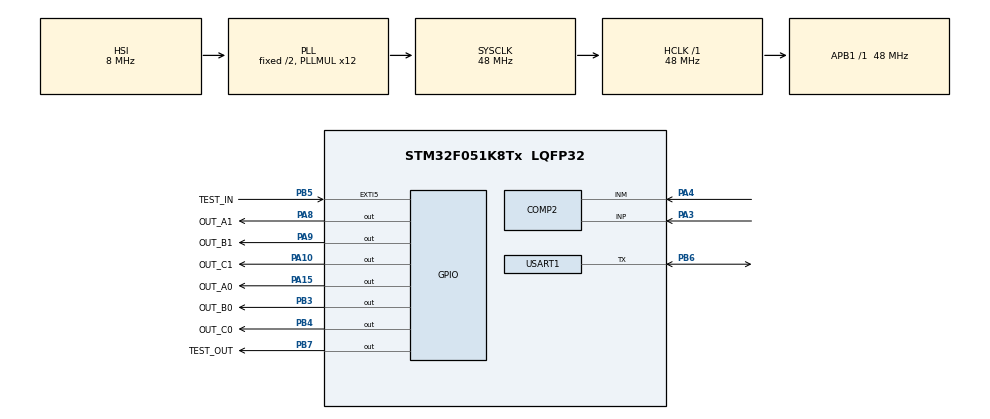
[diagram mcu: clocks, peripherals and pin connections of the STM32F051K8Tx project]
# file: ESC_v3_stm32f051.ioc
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COMP2.Hysteresis=COMP_HYSTERESIS_HIGH
COMP2.Mode=COMP_MODE_HIGHSPEED
COMP2.TriggerMode=COMP_TRIGGERMODE_IT_FALLING
Dma.Request0=USART1_TX
Dma.USART1_TX.0.Direction=DMA_MEMORY_TO_PERIPH
Dma.USART1_TX.0.Instance=DMA1_Channel2
Dma.USART1_TX.0.MemDataAlignment=DMA_MDATAALIGN_BYTE
Dma.USART1_TX.0.MemInc=DMA_MINC_ENABLE
Dma.USART1_TX.0.Mode=DMA_NORMAL
Dma.USART1_TX.0.PeriphDataAlignment=DMA_PDATAALIGN_BYTE
Dma.USART1_TX.0.PeriphInc=DMA_PINC_DISABLE
Dma.USART1_TX.0.Priority=DMA_PRIORITY_LOW
Mcu.Family=STM32F0
Mcu.Name=STM32F051K8Tx
Mcu.Package=LQFP32
NVIC.ADC1_COMP_IRQn=true\:0\:0\:false\:false\:true\:false
NVIC.DMA1_Channel2_3_IRQn=true\:0\:0\:false\:false\:true\:false
NVIC.EXTI4_15_IRQn=true\:0\:0\:false\:false\:true\:true
NVIC.TIM1_BRK_UP_TRG_COM_IRQn=true\:0\:0\:false\:false\:true\:true
NVIC.TIM1_CC_IRQn=true\:0\:0\:false\:false\:true\:true
NVIC.TIM3_IRQn=true\:0\:0\:false\:false\:true\:true
NVIC.USART1_IRQn=true\:0\:0\:false\:false\:true\:true
PA10.GPIO_Label=OUT_C1
PA10.GPIO_Speed=GPIO_SPEED_FREQ_HIGH
PA10.Signal=GPIO_Output
PA13.Mode=Serial_Wire
PA13.Signal=SYS_SWDIO
PA14.Mode=Serial_Wire
PA14.Signal=SYS_SWCLK
PA15.GPIO_Label=OUT_A0
PA15.GPIO_Speed=GPIO_SPEED_FREQ_HIGH
PA15.Signal=GPIO_Output
PA3.Mode=INP
PA3.Signal=COMP2_INP
PA4.Mode=INM
PA4.Signal=COMP2_INM
PA8.GPIO_Label=OUT_A1
PA8.GPIO_Speed=GPIO_SPEED_FREQ_HIGH
PA8.Signal=GPIO_Output
PA9.GPIO_Label=OUT_B1
PA9.GPIO_Speed=GPIO_SPEED_FREQ_HIGH
PA9.Signal=GPIO_Output
PB3.GPIO_Label=OUT_B0
PB3.GPIO_Speed=GPIO_SPEED_FREQ_HIGH
PB3.Signal=GPIO_Output
PB4.GPIO_Label=OUT_C0
PB4.GPIO_Speed=GPIO_SPEED_FREQ_HIGH
PB4.Signal=GPIO_Output
PB5.GPIO_Label=TEST_IN
PB5.GPIO_ModeDefaultEXTI=GPIO_MODE_IT_RISING_FALLING
PB5.GPIO_PuPd=GPIO_PULLUP
PB5.Signal=GPXTI5
PB6.Mode=Half_duplex(single_wire_mode)
PB6.Signal=USART1_TX
PB7.GPIO_FM7=SYSCFG_CFGR1_I2C_FMP_PB7
PB7.GPIO_Label=TEST_OUT
PB7.GPIO_Speed=GPIO_SPEED_FREQ_HIGH
PB7.Signal=GPIO_Output
ProjectManager.HeapSize=0x200
ProjectManager.StackSize=0x400
ProjectManager.TargetToolchain=SW4STM32
RCC.AHBFreq_Value=48000000
RCC.APB1Freq_Value=48000000
RCC.APB1TimFreq_Value=48000000
RCC.HCLKFreq_Value=48000000
RCC.PLLMUL=RCC_PLL_MUL12
RCC.SYSCLKFreq_VALUE=48000000
RCC.SYSCLKSource=RCC_SYSCLKSOURCE_PLLCLK
TIM1.AutoReloadPreload=TIM_AUTORELOAD_PRELOAD_ENABLE
TIM1.Period=0xFFFF
TIM1.Prescaler=48
TIM2.AutoReloadPreload=TIM_AUTORELOAD_PRELOAD_ENABLE
TIM2.Period=0xffff
TIM2.Prescaler=48
TIM3.AutoReloadPreload=TIM_AUTORELOAD_PRELOAD_ENABLE
TIM3.Period=0xFFFF
TIM3.Prescaler=48
TIM6.AutoReloadPreload=TIM_AUTORELOAD_PRELOAD_ENABLE
TIM6.Period=0xFFFF
TIM6.Prescaler=48
USART1.BaudRate=115200
USART1.VirtualMode-Half_duplex(single_wire_mode)=VM_ASYNC
VP_TIM1_VS_ClockSourceINT.Mode=Internal
VP_TIM2_VS_ClockSourceINT.Mode=Internal
VP_TIM3_VS_ClockSourceINT.Mode=Internal
VP_TIM6_VS_ClockSourceINT.Mode=Enable_Timer
board=ESC_v3_stm32f051

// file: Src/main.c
/**
  ******************************************************************************
  * File Name          : main.c
  * Description        : Main program body
  ******************************************************************************
  ** This notice applies to any and all portions of this file
  * that are not between comment pairs USER CODE BEGIN and
  * USER CODE END. Other portions of this file, whether
  * inserted by the user or by software development tools
  * are owned by their respective copyright owners.
  *
  * COPYRIGHT(c) 2018 STMicroelectronics
  *
  * Redistribution and use in source and binary forms, with or without modification,
  * are permitted provided that the following conditions are met:
  *   1. Redistributions of source code must retain the above copyright notice,
  *      this list of conditions and the following disclaimer.
  *   2. Redistributions in binary form must reproduce the above copyright notice,
  *      this list of conditions and the following disclaimer in the documentation
  *      and/or other materials provided with the distribution.
  *   3. Neither the name of STMicroelectronics nor the names of its contributors
  *      may be used to endorse or promote products derived from this software
  *      without specific prior written permission.
  *
  * THIS SOFTWARE IS PROVIDED BY THE COPYRIGHT HOLDERS AND CONTRIBUTORS "AS IS"
  * AND ANY EXPRESS OR IMPLIED WARRANTIES, INCLUDING, BUT NOT LIMITED TO, THE
  * IMPLIED WARRANTIES OF MERCHANTABILITY AND FITNESS FOR A PARTICULAR PURPOSE ARE
  * DISCLAIMED. IN NO EVENT SHALL THE COPYRIGHT HOLDER OR CONTRIBUTORS BE LIABLE
  * FOR ANY DIRECT, INDIRECT, INCIDENTAL, SPECIAL, EXEMPLARY, OR CONSEQUENTIAL
  * DAMAGES (INCLUDING, BUT NOT LIMITED TO, PROCUREMENT OF SUBSTITUTE GOODS OR
  * SERVICES; LOSS OF USE, DATA, OR PROFITS; OR BUSINESS INTERRUPTION) HOWEVER
  * CAUSED AND ON ANY THEORY OF LIABILITY, WHETHER IN CONTRACT, STRICT LIABILITY,
  * OR TORT (INCLUDING NEGLIGENCE OR OTHERWISE) ARISING IN ANY WAY OUT OF THE USE
  * OF THIS SOFTWARE, EVEN IF ADVISED OF THE POSSIBILITY OF SUCH DAMAGE.
  *
  ******************************************************************************
  */
#include "main.h"
#include "stm32f0xx_hal.h"

COMP_HandleTypeDef hcomp2;

TIM_HandleTypeDef htim1;
TIM_HandleTypeDef htim2;
TIM_HandleTypeDef htim3;
TIM_HandleTypeDef htim6;

UART_HandleTypeDef huart1;
DMA_HandleTypeDef hdma_usart1_tx;

/* USER CODE BEGIN PV */
/* Private variables ---------------------------------------------------------*/

/* USER CODE END PV */

void SystemClock_Config(void);
static void MX_GPIO_Init(void);
static void MX_DMA_Init(void);
static void MX_COMP2_Init(void);
static void MX_USART1_UART_Init(void);
static void MX_TIM1_Init(void);
static void MX_TIM3_Init(void);
static void MX_TIM2_Init(void);
static void MX_TIM6_Init(void);

/* USER CODE BEGIN PFP */
/* Private function prototypes -----------------------------------------------*/

void SwitchStep(void);

/* USER CODE END PFP */

/* USER CODE BEGIN 0 */

volatile int startup_time = 0;

#include <stdarg.h>	// for va_start(lst, fmt), va_end(lst);...
#include <string.h> //for strlen()

static char buf[256];
void Printf(const char *fmt, ...)
{
//	static char buf[256];
	char *p;
	va_list lst;

	va_start(lst, fmt);
	vsprintf(buf, fmt, lst);
	va_end(lst);

	p = buf;
	HAL_UART_Transmit_DMA(&huart1, (unsigned char *)buf, strlen(buf));
	return;
	while(*p) {
		HAL_UART_Transmit(&huart1, (unsigned char *)p, 1, 500);
		p++;
	}
}

int ChangeTime = 0;
int TimeRotate = 0;

int incorrectfl = 0;
int correctfl = 0;

#define CounterTIM3Read htim3.Instance->CNT				// For Input pin. for count impulse lenght.
#define CounterTIM2Read htim2.Instance->CNT				// Counter zc_polarity and time for STEPs
#define CounterTIM1Read htim1.Instance->CNT				// Counter us After Impulses
#define CounterTIM6Read htim6.Instance->CNT				// Timer Clocker impulse N-Mosfet (Low-Mosfet)

#define COMMUTATION_TIMING_IIR_COEFF_A      1
#define COMMUTATION_TIMING_IIR_COEFF_B      20//50

#define STURTUP_TIME 3000//5000//2600

#define COMP_CHN_A             1
#define COMP_CHN_B             2
#define COMP_CHN_C             3

unsigned char COMP_CHN_Table[6];

volatile int   TIME_IMPULS = 0;		//10
#define  TIME_PERIOD  120	//60

struct driveTableStructure{
	GPIO_TypeDef* GPIO_Port;
	uint16_t GPIO_Pin;
};

struct driveTableStructure driveTableHight[6], driveTableLow[6];

volatile unsigned int filteredTimeSinceCommutation;
volatile unsigned char nextCommutationStep;
volatile unsigned char zcPolarity;

int timeSinceCommutation_Updated = 0;
int timeSinceCommutation_Value;

volatile int Impulse_Ready = 0;
volatile int Impulse_Length = 0;

#define IMP_AVERAGE 10
int Impulse_average[IMP_AVERAGE] = {0,};
int Impulse_Average_arr=0;
int Impulse_Average=0;

void HAL_GPIO_EXTI_Callback(uint16_t GPIO_Pin)
{
	if (HAL_GPIO_ReadPin(TEST_IN_GPIO_Port, TEST_IN_Pin) == GPIO_PIN_RESET){
		int timer3 = CounterTIM3Read;
		if (timer3 < 1200) Impulse_Length=0;
		else Impulse_Length = (timer3-1000)/8;

		Impulse_average[Impulse_Average_arr]=Impulse_Length;

		if (++Impulse_Average_arr>=IMP_AVERAGE)Impulse_Average_arr=0;

		int i=0;
		for (i=0; i<IMP_AVERAGE; i++){Impulse_Average +=Impulse_average[i];}
		Impulse_Average/=IMP_AVERAGE;

		if (Impulse_Length == 0)TIME_IMPULS=0;
		else TIME_IMPULS = Impulse_Average;

		Impulse_Ready = 1;
	}

	CounterTIM3Read = 0;
}

void HAL_TIM_PeriodElapsedCallback(TIM_HandleTypeDef *htim)
{
}

void HAL_COMP_TriggerCallback(COMP_HandleTypeDef *hcomp)
{
}

void HAL_COMP_MspInit_Add(COMP_HandleTypeDef* hcomp)
{

  GPIO_InitTypeDef GPIO_InitStruct;
  if(hcomp->Instance==COMP2)
  {
  /* USER CODE BEGIN COMP2_MspInit 0 */

  /* USER CODE END COMP2_MspInit 0 */

    /**COMP2 GPIO Configuration
    PA3     ------> COMP2_INP
    PA4     ------> COMP2_INM
    */
    GPIO_InitStruct.Pin = GPIO_PIN_2|GPIO_PIN_3|GPIO_PIN_4|GPIO_PIN_5;;
    GPIO_InitStruct.Mode = GPIO_MODE_ANALOG;
    GPIO_InitStruct.Pull = GPIO_NOPULL;
    HAL_GPIO_Init(GPIOA, &GPIO_InitStruct);

    /* COMP2 interrupt Init */
    HAL_NVIC_SetPriority(ADC1_COMP_IRQn, 0, 0);
    HAL_NVIC_EnableIRQ(ADC1_COMP_IRQn);
  /* USER CODE BEGIN COMP2_MspInit 1 */

  /* USER CODE END COMP2_MspInit 1 */
  }

}

void MX_COMP2_Init_Channel(int n, int edge)	// edge 1 -> Rise ; 0 -> fall; (for P pin)
{

	//if (edge == 1){
	//	__HAL_COMP_COMP2_EXTI_DISABLE_FALLING_EDGE() ;
	//	__HAL_COMP_COMP2_EXTI_ENABLE_RISING_EDGE();
	//}
	//else {
	//	__HAL_COMP_COMP2_EXTI_ENABLE_FALLING_EDGE() ;
	//	__HAL_COMP_COMP2_EXTI_DISABLE_RISING_EDGE();
	//}

  hcomp2.Instance = COMP2;
  if ((n==0) || (n==1)) hcomp2.Init.InvertingInput = COMP_INVERTINGINPUT_DAC2;
  else if (n==2) 		hcomp2.Init.InvertingInput = COMP_INVERTINGINPUT_DAC1;
  else					hcomp2.Init.InvertingInput = COMP_INVERTINGINPUT_IO1;

#define COMP_CSR_COMPxNONINSEL_MASK      ((uint16_t)COMP_CSR_COMP1SW1)
#define COMP_CSR_COMP2_SHIFT             16U

  uint32_t regshift = COMP_CSR_COMP2_SHIFT;

  MODIFY_REG(COMP->CSR,
             (COMP_CSR_COMPxINSEL  | COMP_CSR_COMPxNONINSEL_MASK | \
              COMP_CSR_COMPxOUTSEL | COMP_CSR_COMPxPOL           | \
              COMP_CSR_COMPxHYST   | COMP_CSR_COMPxMODE) << regshift,
             (hcomp2.Init.InvertingInput    | \
            		 COMP_NONINVERTINGINPUT_IO1 | \
					 COMP_OUTPUT_NONE            | \
					 COMP_OUTPUTPOL_NONINVERTED         | \
					 COMP_HYSTERESIS_HIGH        | \
					 COMP_MODE_HIGHSPEED) << regshift);

}

#define setDriveTable(i,a,b,c,d)   driveTableLow[i].GPIO_Port = a; driveTableLow[i].GPIO_Pin = b; driveTableHight[i].GPIO_Port = c; driveTableHight[i].GPIO_Pin = d

void MakeTables(void)
{
#define INVERSE 0
#if INVERSE
	setDriveTable(5, OUT_A0_GPIO_Port, OUT_A0_Pin, OUT_B1_GPIO_Port, OUT_B1_Pin);
	setDriveTable(4, OUT_A0_GPIO_Port, OUT_A0_Pin, OUT_C1_GPIO_Port, OUT_C1_Pin);
	setDriveTable(3, OUT_B0_GPIO_Port, OUT_B0_Pin, OUT_C1_GPIO_Port, OUT_C1_Pin);
	setDriveTable(2, OUT_B0_GPIO_Port, OUT_B0_Pin, OUT_A1_GPIO_Port, OUT_A1_Pin);
	setDriveTable(1, OUT_C0_GPIO_Port, OUT_C0_Pin, OUT_A1_GPIO_Port, OUT_A1_Pin);
	setDriveTable(0, OUT_C0_GPIO_Port, OUT_C0_Pin, OUT_B1_GPIO_Port, OUT_B1_Pin);

	COMP_CHN_Table[5] = COMP_CHN_C;	//c	rise
	COMP_CHN_Table[4] = COMP_CHN_B;	//b fall
	COMP_CHN_Table[3] = COMP_CHN_A;	//a rise
	COMP_CHN_Table[2] = COMP_CHN_C;	//c fall
	COMP_CHN_Table[1] = COMP_CHN_B;	//b rise
	COMP_CHN_Table[0] = COMP_CHN_A;	//a	fall
#else
	setDriveTable(0, OUT_A0_GPIO_Port, OUT_A0_Pin, OUT_B1_GPIO_Port, OUT_B1_Pin);
	setDriveTable(1, OUT_A0_GPIO_Port, OUT_A0_Pin, OUT_C1_GPIO_Port, OUT_C1_Pin);
	setDriveTable(2, OUT_B0_GPIO_Port, OUT_B0_Pin, OUT_C1_GPIO_Port, OUT_C1_Pin);
	setDriveTable(3, OUT_B0_GPIO_Port, OUT_B0_Pin, OUT_A1_GPIO_Port, OUT_A1_Pin);
	setDriveTable(4, OUT_C0_GPIO_Port, OUT_C0_Pin, OUT_A1_GPIO_Port, OUT_A1_Pin);
	setDriveTable(5, OUT_C0_GPIO_Port, OUT_C0_Pin, OUT_B1_GPIO_Port, OUT_B1_Pin);

	COMP_CHN_Table[0] = COMP_CHN_C;	//c	rise
	COMP_CHN_Table[1] = COMP_CHN_B;	//b fall
	COMP_CHN_Table[2] = COMP_CHN_A;	//a rise
	COMP_CHN_Table[3] = COMP_CHN_C;	//c fall
	COMP_CHN_Table[4] = COMP_CHN_B;	//b rise
	COMP_CHN_Table[5] = COMP_CHN_A;	//a	fall
#endif
}

void SwitchGPIO_OUTPUT(int cStep)
{
	  //HAL_GPIO_WritePin(GPIOA, OUT_A1_Pin|OUT_B1_Pin|OUT_C1_Pin|OUT_A0_Pin, GPIO_PIN_RESET);
	  //HAL_GPIO_WritePin(GPIOB, OUT_B0_Pin|OUT_C0_Pin, GPIO_PIN_RESET);

	GPIOA->BRR = OUT_A1_Pin|OUT_B1_Pin|OUT_C1_Pin|OUT_A0_Pin;
	GPIOB->BRR = OUT_B0_Pin|OUT_C0_Pin;

	driveTableHight[cStep].GPIO_Port->BSRR = driveTableHight[cStep].GPIO_Pin;

	  //HAL_GPIO_WritePin(driveTableHight[cStep].GPIO_Port, driveTableHight[cStep].GPIO_Pin, GPIO_PIN_SET);
	  //HAL_GPIO_WritePin(driveTableLow[cStep].GPIO_Port, driveTableLow[cStep].GPIO_Pin, GPIO_PIN_SET);

}

int signal_on = 0;

void SwitchStep(void)
{
	CounterTIM2Read=0;
	ChangeTime = 0;

    if (signal_on == 1)driveTableLow[nextCommutationStep].GPIO_Port->BRR = driveTableLow[nextCommutationStep].GPIO_Pin;		//Reset Last Communication FET
    if (++nextCommutationStep >= 6) nextCommutationStep = 0;

    //DRIVE_PORT = driveTable[nextCommutationStep];
    SwitchGPIO_OUTPUT(nextCommutationStep);
    if (signal_on == 1)driveTableLow[nextCommutationStep].GPIO_Port->BSRR = driveTableLow[nextCommutationStep].GPIO_Pin;	//Set Communication FET

    zcPolarity = (nextCommutationStep) & 0x01;
    MX_COMP2_Init_Channel(COMP_CHN_Table[nextCommutationStep], zcPolarity);//ADMUX = ADMUXTable[nextCommutationStep];		//SET Compare to communication step

}

int ReaderNextStep(void)
{
	if (CounterTIM2Read<filteredTimeSinceCommutation*2) return 0;

	if(1)if (!ChangeTime){
        if (filteredTimeSinceCommutation<STURTUP_TIME) filteredTimeSinceCommutation += 2*(filteredTimeSinceCommutation/(COMMUTATION_TIMING_IIR_COEFF_B));
        incorrectfl++;
    }

	SwitchStep();
	return 1;
}

void COMP_Reader(void)
{
	if (startup_time < 500) {											//Startup rotate motor. Without compare.
		filteredTimeSinceCommutation = 3000 - (startup_time*2);
		return;
	}

	if (ChangeTime==1) return;

	unsigned int timer2 = CounterTIM2Read;
	//if (timer2<(TIME_PERIOD/2)) return;
	//if (timer2<(35)) return;	//35 was

	if ((TimeRotate>=5)&& (timer2<(10))) return;
	else if (timer2<(35)) return;	//35 was

	//unsigned int timer1 = CounterTIM1Read;
	//if (timer1<5) return;

	if ((READ_BIT(COMP->CSR, COMP_CSR_COMPxOUT << COMP_CSR_COMP2_SHIFT)==0) == (zcPolarity==0)){

		//timeSinceCommutation_Value = timer2;
		if ((ChangeTime==0)){
			ChangeTime=1;
			filteredTimeSinceCommutation = (COMMUTATION_TIMING_IIR_COEFF_A * (timer2*1)
									+ COMMUTATION_TIMING_IIR_COEFF_B * filteredTimeSinceCommutation)
									/ (COMMUTATION_TIMING_IIR_COEFF_A + COMMUTATION_TIMING_IIR_COEFF_B);
			if (filteredTimeSinceCommutation>STURTUP_TIME) filteredTimeSinceCommutation=STURTUP_TIME;

			correctfl++;
		}
	}
}

//int ttt=0;
void whileImpulse(void)
{
	int i=0;

	CounterTIM6Read=0;
	driveTableLow[nextCommutationStep].GPIO_Port->BSRR = driveTableLow[nextCommutationStep].GPIO_Pin;
	CounterTIM1Read=0;
	signal_on=1;
	//uDelay(TIME_IMPULS);
	while(CounterTIM6Read<TIME_IMPULS){COMP_Reader(); if (ReaderNextStep()) return;};

	for (i=0;i<6;i++)driveTableLow[i].GPIO_Port->BRR = driveTableLow[i].GPIO_Pin;
	CounterTIM1Read=0;
	signal_on=0;

	//uDelay(10);//uDelay(2);//uDelay(50);
	//while(CounterTIM6Read<(TIME_IMPULS+5)){ReaderNextStep();};

	while(CounterTIM6Read<TIME_PERIOD){   //while(CounterTIM1Read<(delay-TIME_IMPULS+timerCNT)){

		COMP_Reader();

		if (ReaderNextStep()) return;

	}

}

void SettingsToDefault(void){

	MakeTables();

	__HAL_COMP_COMP2_EXTI_ENABLE_RISING_EDGE();
	__HAL_COMP_COMP2_EXTI_ENABLE_FALLING_EDGE();

	filteredTimeSinceCommutation = 0;
	nextCommutationStep = 0;
	filteredTimeSinceCommutation = STURTUP_TIME;

	HAL_GPIO_WritePin(GPIOA, OUT_A1_Pin|OUT_B1_Pin|OUT_C1_Pin|OUT_A0_Pin, GPIO_PIN_RESET);
	HAL_GPIO_WritePin(GPIOB, OUT_B0_Pin|OUT_C0_Pin, GPIO_PIN_RESET);

}

int sTimer=0;

void HAL_SYSTICK_Callback(void)
{

	if (TIME_IMPULS!=0){if(startup_time<3000)startup_time++;}
	else startup_time=0;
	if (incorrectfl >200) {TIME_IMPULS=0; sTimer=0; incorrectfl=0; return;}

/*	if (++TimerErrorControl>50){
		if ((2*incorrectfl) > correctfl){TIME_IMPULS=0; sTimer=0;}
		TimerErrorControl=0;
		incorrectfl=0;
		correctfl=0;
	}*/
//	if (++sTimer>=1000) {sTimer=0; Printf("timeSinceCommutation_Value = %d\n\r", timeSinceCommutation_Value); }
//if (++sTimer>=1000) {sTimer=0; Printf("%d us\n\r", filteredTimeSinceCommutation*12);}//timeSinceCommutation_Value
//if (++sTimer>=1000) {sTimer=0; Printf("%d us, %d us\n\r", filteredTimeSinceCommutation*12, Impulse_Long);}//timeSinceCommutation_Value

	if (++sTimer>=1000) {
		//sTimer=0; Printf("%d us, %d us, incorr=%d\n\r", filteredTimeSinceCommutation*12, Impulse_Length, incorrectfl);
		//sTimer=0; Printf("%d us, incorr=%d\n\r", filteredTimeSinceCommutation*12, incorrectfl);
		sTimer=0; Printf("%d us\n\r", filteredTimeSinceCommutation*12);
		//sTimer=0; Printf("%d us, imp:%d\n\r", filteredTimeSinceCommutation, TIME_IMPULS);
		incorrectfl=0;
		//if (Impulse_Ready !=0){TIME_IMPULS = Impulse_Length; Impulse_Ready=0;}
		//else TIME_IMPULS=0;
		if (Impulse_Ready == 0)TIME_IMPULS=0;
		//TIME_IMPULS = Impulse_Long;
		//if (++sTimer>=1000) {sTimer=0; Printf("%d\n\r", TIME_IMPULS);}//timeSinceCommutation_Value

		if (TIME_IMPULS>0){TimeRotate++;}
		else TimeRotate=0;
	}

	if (sTimer==500) {
		//Printf("imp:%d, ", TIME_IMPULS);
	}

}

/* USER CODE END 0 */

int main(void)
{

  /* MCU Configuration----------------------------------------------------------*/

  /* Reset of all peripherals, Initializes the Flash interface and the Systick. */
  HAL_Init();

  /* Configure the system clock */
  SystemClock_Config();

  /* Initialize all configured peripherals */
  MX_GPIO_Init();
  MX_DMA_Init();
  MX_COMP2_Init();
  MX_USART1_UART_Init();
  MX_TIM1_Init();
  MX_TIM3_Init();
  MX_TIM2_Init();
  MX_TIM6_Init();

  /* USER CODE BEGIN 2 */

  HAL_TIM_Base_Start(&htim1);
  //HAL_TIM_Base_Start(&htim3);
  HAL_TIM_Base_Start_IT(&htim3);
  HAL_TIM_Base_Start(&htim2);
  HAL_TIM_Base_Start(&htim6);

  HAL_COMP_MspInit_Add(&hcomp2);

  if(HAL_COMP_Start_IT(&hcomp2) != HAL_OK)
  {
    // Initialization Error
    Error_Handler();
  }

  MX_COMP2_Init_Channel(0, 0);

  SettingsToDefault();

  Impulse_Ready=0;
  while((Impulse_Ready == 0) && (Impulse_Length != 0)){HAL_Delay(1);}

  Printf("Started\n\r");

  /* USER CODE END 2 */

  /* Infinite loop */
  /* USER CODE BEGIN WHILE */

  while (1)
  {

	  while(TIME_IMPULS<10){ SettingsToDefault(); HAL_Delay(10);}

	  whileImpulse();

  /* USER CODE END WHILE */

  }

}

/** System Clock Configuration
*/
void SystemClock_Config(void)
{

  RCC_OscInitTypeDef RCC_OscInitStruct;
  RCC_ClkInitTypeDef RCC_ClkInitStruct;
  RCC_PeriphCLKInitTypeDef PeriphClkInit;

    /**Initializes the CPU, AHB and APB busses clocks
    */
  RCC_OscInitStruct.OscillatorType = RCC_OSCILLATORTYPE_HSI;
  RCC_OscInitStruct.HSIState = RCC_HSI_ON;
  RCC_OscInitStruct.HSICalibrationValue = 16;
  RCC_OscInitStruct.PLL.PLLState = RCC_PLL_ON;
  RCC_OscInitStruct.PLL.PLLSource = RCC_PLLSOURCE_HSI;
  RCC_OscInitStruct.PLL.PLLMUL = RCC_PLL_MUL12;
  RCC_OscInitStruct.PLL.PREDIV = RCC_PREDIV_DIV1;
  if (HAL_RCC_OscConfig(&RCC_OscInitStruct) != HAL_OK)
  {
    _Error_Handler(__FILE__, __LINE__);
  }

    /**Initializes the CPU, AHB and APB busses clocks
    */
  RCC_ClkInitStruct.ClockType = RCC_CLOCKTYPE_HCLK|RCC_CLOCKTYPE_SYSCLK
                              |RCC_CLOCKTYPE_PCLK1;
  RCC_ClkInitStruct.SYSCLKSource = RCC_SYSCLKSOURCE_PLLCLK;
  RCC_ClkInitStruct.AHBCLKDivider = RCC_SYSCLK_DIV1;
  RCC_ClkInitStruct.APB1CLKDivider = RCC_HCLK_DIV1;

  if (HAL_RCC_ClockConfig(&RCC_ClkInitStruct, FLASH_LATENCY_1) != HAL_OK)
  {
    _Error_Handler(__FILE__, __LINE__);
  }

  PeriphClkInit.PeriphClockSelection = RCC_PERIPHCLK_USART1;
  PeriphClkInit.Usart1ClockSelection = RCC_USART1CLKSOURCE_PCLK1;
  if (HAL_RCCEx_PeriphCLKConfig(&PeriphClkInit) != HAL_OK)
  {
    _Error_Handler(__FILE__, __LINE__);
  }

    /**Configure the Systick interrupt time
    */
  HAL_SYSTICK_Config(HAL_RCC_GetHCLKFreq()/1000);

    /**Configure the Systick
    */
  HAL_SYSTICK_CLKSourceConfig(SYSTICK_CLKSOURCE_HCLK);

  /* SysTick_IRQn interrupt configuration */
  HAL_NVIC_SetPriority(SysTick_IRQn, 0, 0);
}

/* COMP2 init function */
static void MX_COMP2_Init(void)
{

  hcomp2.Instance = COMP2;
  hcomp2.Init.InvertingInput = COMP_INVERTINGINPUT_DAC1;
  hcomp2.Init.NonInvertingInput = COMP_NONINVERTINGINPUT_IO1;
  hcomp2.Init.Output = COMP_OUTPUT_NONE;
  hcomp2.Init.OutputPol = COMP_OUTPUTPOL_NONINVERTED;
  hcomp2.Init.Hysteresis = COMP_HYSTERESIS_HIGH;
  hcomp2.Init.Mode = COMP_MODE_HIGHSPEED;
  hcomp2.Init.WindowMode = COMP_WINDOWMODE_DISABLE;
  hcomp2.Init.TriggerMode = COMP_TRIGGERMODE_IT_FALLING;
  if (HAL_COMP_Init(&hcomp2) != HAL_OK)
  {
    _Error_Handler(__FILE__, __LINE__);
  }

}

/* TIM1 init function */
static void MX_TIM1_Init(void)
{

  TIM_ClockConfigTypeDef sClockSourceConfig;
  TIM_MasterConfigTypeDef sMasterConfig;

  htim1.Instance = TIM1;
  htim1.Init.Prescaler = 48;
  htim1.Init.CounterMode = TIM_COUNTERMODE_UP;
  htim1.Init.Period = 0xFFFF;
  htim1.Init.ClockDivision = TIM_CLOCKDIVISION_DIV1;
  htim1.Init.RepetitionCounter = 0;
  htim1.Init.AutoReloadPreload = TIM_AUTORELOAD_PRELOAD_ENABLE;
  if (HAL_TIM_Base_Init(&htim1) != HAL_OK)
  {
    _Error_Handler(__FILE__, __LINE__);
  }

  sClockSourceConfig.ClockSource = TIM_CLOCKSOURCE_INTERNAL;
  if (HAL_TIM_ConfigClockSource(&htim1, &sClockSourceConfig) != HAL_OK)
  {
    _Error_Handler(__FILE__, __LINE__);
  }

  sMasterConfig.MasterOutputTrigger = TIM_TRGO_RESET;
  sMasterConfig.MasterSlaveMode = TIM_MASTERSLAVEMODE_DISABLE;
  if (HAL_TIMEx_MasterConfigSynchronization(&htim1, &sMasterConfig) != HAL_OK)
  {
    _Error_Handler(__FILE__, __LINE__);
  }

}

/* TIM2 init function */
static void MX_TIM2_Init(void)
{

  TIM_ClockConfigTypeDef sClockSourceConfig;
  TIM_MasterConfigTypeDef sMasterConfig;

  htim2.Instance = TIM2;
  htim2.Init.Prescaler = 48;
  htim2.Init.CounterMode = TIM_COUNTERMODE_UP;
  htim2.Init.Period = 0xffff;
  htim2.Init.ClockDivision = TIM_CLOCKDIVISION_DIV1;
  htim2.Init.AutoReloadPreload = TIM_AUTORELOAD_PRELOAD_ENABLE;
  if (HAL_TIM_Base_Init(&htim2) != HAL_OK)
  {
    _Error_Handler(__FILE__, __LINE__);
  }

  sClockSourceConfig.ClockSource = TIM_CLOCKSOURCE_INTERNAL;
  if (HAL_TIM_ConfigClockSource(&htim2, &sClockSourceConfig) != HAL_OK)
  {
    _Error_Handler(__FILE__, __LINE__);
  }

  sMasterConfig.MasterOutputTrigger = TIM_TRGO_RESET;
  sMasterConfig.MasterSlaveMode = TIM_MASTERSLAVEMODE_DISABLE;
  if (HAL_TIMEx_MasterConfigSynchronization(&htim2, &sMasterConfig) != HAL_OK)
  {
    _Error_Handler(__FILE__, __LINE__);
  }

}

/* TIM3 init function */
static void MX_TIM3_Init(void)
{

  TIM_ClockConfigTypeDef sClockSourceConfig;
  TIM_MasterConfigTypeDef sMasterConfig;

  htim3.Instance = TIM3;
  htim3.Init.Prescaler = 48;
  htim3.Init.CounterMode = TIM_COUNTERMODE_UP;
  htim3.Init.Period = 0xFFFF;
  htim3.Init.ClockDivision = TIM_CLOCKDIVISION_DIV1;
  htim3.Init.AutoReloadPreload = TIM_AUTORELOAD_PRELOAD_ENABLE;
  if (HAL_TIM_Base_Init(&htim3) != HAL_OK)
  {
    _Error_Handler(__FILE__, __LINE__);
  }

  sClockSourceConfig.ClockSource = TIM_CLOCKSOURCE_INTERNAL;
  if (HAL_TIM_ConfigClockSource(&htim3, &sClockSourceConfig) != HAL_OK)
  {
    _Error_Handler(__FILE__, __LINE__);
  }

  sMasterConfig.MasterOutputTrigger = TIM_TRGO_RESET;
  sMasterConfig.MasterSlaveMode = TIM_MASTERSLAVEMODE_DISABLE;
  if (HAL_TIMEx_MasterConfigSynchronization(&htim3, &sMasterConfig) != HAL_OK)
  {
    _Error_Handler(__FILE__, __LINE__);
  }

}

/* TIM6 init function */
static void MX_TIM6_Init(void)
{

  TIM_MasterConfigTypeDef sMasterConfig;

  htim6.Instance = TIM6;
  htim6.Init.Prescaler = 48;
  htim6.Init.CounterMode = TIM_COUNTERMODE_UP;
  htim6.Init.Period = 0xFFFF;
  htim6.Init.AutoReloadPreload = TIM_AUTORELOAD_PRELOAD_ENABLE;
  if (HAL_TIM_Base_Init(&htim6) != HAL_OK)
  {
    _Error_Handler(__FILE__, __LINE__);
  }

  sMasterConfig.MasterOutputTrigger = TIM_TRGO_RESET;
  sMasterConfig.MasterSlaveMode = TIM_MASTERSLAVEMODE_DISABLE;
  if (HAL_TIMEx_MasterConfigSynchronization(&htim6, &sMasterConfig) != HAL_OK)
  {
    _Error_Handler(__FILE__, __LINE__);
  }

}

/* USART1 init function */
static void MX_USART1_UART_Init(void)
{

  huart1.Instance = USART1;
  huart1.Init.BaudRate = 115200;
  huart1.Init.WordLength = UART_WORDLENGTH_8B;
  huart1.Init.StopBits = UART_STOPBITS_1;
  huart1.Init.Parity = UART_PARITY_NONE;
  huart1.Init.Mode = UART_MODE_TX_RX;
  huart1.Init.HwFlowCtl = UART_HWCONTROL_NONE;
  huart1.Init.OverSampling = UART_OVERSAMPLING_16;
  huart1.Init.OneBitSampling = UART_ONE_BIT_SAMPLE_DISABLE;
  huart1.AdvancedInit.AdvFeatureInit = UART_ADVFEATURE_NO_INIT;
  if (HAL_HalfDuplex_Init(&huart1) != HAL_OK)
  {
    _Error_Handler(__FILE__, __LINE__);
  }

}

static void MX_DMA_Init(void)
{
  /* DMA controller clock enable */
  __HAL_RCC_DMA1_CLK_ENABLE();

  /* DMA interrupt init */
  /* DMA1_Channel2_3_IRQn interrupt configuration */
  HAL_NVIC_SetPriority(DMA1_Channel2_3_IRQn, 0, 0);
  HAL_NVIC_EnableIRQ(DMA1_Channel2_3_IRQn);

}

/** Configure pins as
        * Analog
        * Input
        * Output
        * EVENT_OUT
        * EXTI
*/
static void MX_GPIO_Init(void)
{

  GPIO_InitTypeDef GPIO_InitStruct;

  /* GPIO Ports Clock Enable */
  __HAL_RCC_GPIOA_CLK_ENABLE();
  __HAL_RCC_GPIOB_CLK_ENABLE();

  /*Configure GPIO pin Output Level */
  HAL_GPIO_WritePin(GPIOA, OUT_A1_Pin|OUT_B1_Pin|OUT_C1_Pin|OUT_A0_Pin, GPIO_PIN_RESET);

  /*Configure GPIO pin Output Level */
  HAL_GPIO_WritePin(GPIOB, OUT_B0_Pin|OUT_C0_Pin|TEST_OUT_Pin, GPIO_PIN_RESET);

  /*Configure GPIO pins : OUT_A1_Pin OUT_B1_Pin OUT_C1_Pin OUT_A0_Pin */
  GPIO_InitStruct.Pin = OUT_A1_Pin|OUT_B1_Pin|OUT_C1_Pin|OUT_A0_Pin;
  GPIO_InitStruct.Mode = GPIO_MODE_OUTPUT_PP;
  GPIO_InitStruct.Pull = GPIO_NOPULL;
  GPIO_InitStruct.Speed = GPIO_SPEED_FREQ_HIGH;
  HAL_GPIO_Init(GPIOA, &GPIO_InitStruct);

  /*Configure GPIO pins : OUT_B0_Pin OUT_C0_Pin TEST_OUT_Pin */
  GPIO_InitStruct.Pin = OUT_B0_Pin|OUT_C0_Pin|TEST_OUT_Pin;
  GPIO_InitStruct.Mode = GPIO_MODE_OUTPUT_PP;
  GPIO_InitStruct.Pull = GPIO_NOPULL;
  GPIO_InitStruct.Speed = GPIO_SPEED_FREQ_HIGH;
  HAL_GPIO_Init(GPIOB, &GPIO_InitStruct);

  /*Configure GPIO pin : TEST_IN_Pin */
  GPIO_InitStruct.Pin = TEST_IN_Pin;
  GPIO_InitStruct.Mode = GPIO_MODE_IT_RISING_FALLING;
  GPIO_InitStruct.Pull = GPIO_PULLUP;
  HAL_GPIO_Init(TEST_IN_GPIO_Port, &GPIO_InitStruct);

  /**/
  HAL_I2CEx_EnableFastModePlus(SYSCFG_CFGR1_I2C_FMP_PB7);

  /* EXTI interrupt init*/
  HAL_NVIC_SetPriority(EXTI4_15_IRQn, 0, 0);
  HAL_NVIC_EnableIRQ(EXTI4_15_IRQn);

}

void _Error_Handler(char * file, int line)
{
  while(1)
  {
  }
}

/************************ (C) COPYRIGHT STMicroelectronics *****END OF FILE****/
